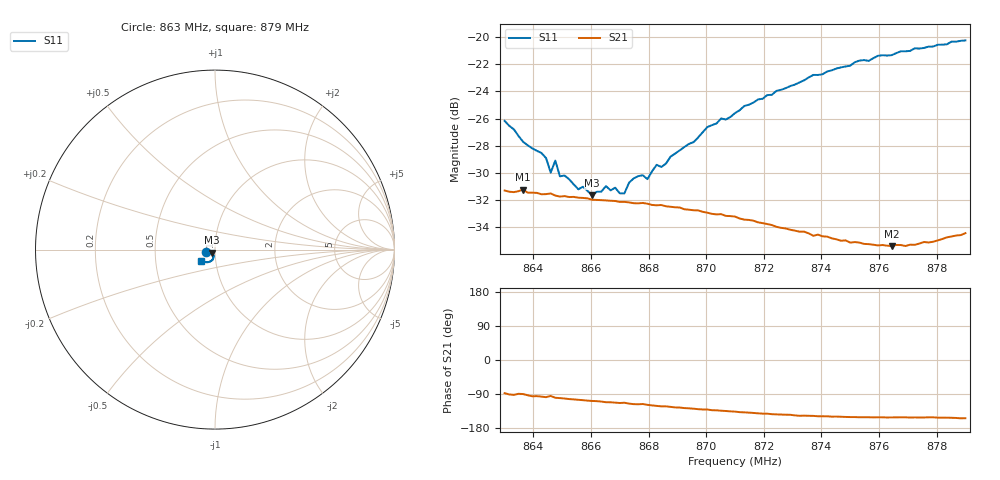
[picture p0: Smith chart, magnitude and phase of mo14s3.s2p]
# HZ S RI R 50
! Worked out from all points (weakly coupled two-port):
!   101 points, 863 MHz to 879 MHz, reference 50 ohm
!   highest |S21| = -31.22 dB at 863.64 MHz (marker M1); lowest = -35.4 dB at 876.44 MHz (marker M2)
!   lowest |S11| = -31.6 dB at 866.04 MHz (marker M3), VSWR 1.05, Z = 48.1 - j1.7 ohm
!   |S11| at or under -10 dB: start of sweep to end of sweep
!   S12 and S22 are empty: the file has one direction only
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8.63e8  -0.0475 -0.0129  0.00119 -0.0272  0 0  0 0
8.6364e8  -0.0393 -0.0125  9e-05 -0.0275  0 0  0 0
8.6444e8  -0.0336 -0.0127  -0.00372 -0.0262  0 0  0 0
8.646e8  -0.0289 -0.0131  -0.00225 -0.0265  0 0  0 0
8.6476e8  -0.0316 -0.0153  -0.00441 -0.0258  0 0  0 0
8.6492e8  -0.0279 -0.0129  -0.00474 -0.0255  0 0  0 0
8.6508e8  -0.0273 -0.0147  -0.00523 -0.0255  0 0  0 0
8.6556e8  -0.0231 -0.015  -0.00666 -0.0248  0 0  0 0
8.6572e8  -0.0226 -0.0168  -0.00707 -0.0246  0 0  0 0
8.6604e8  -0.0193 -0.0177  -0.00783 -0.024  0 0  0 0
8.6652e8  -0.0178 -0.022  -0.00918 -0.0233  0 0  0 0
8.6716e8  -0.0123 -0.0236  -0.00958 -0.0228  0 0  0 0
8.6748e8  -0.0134 -0.0271  -0.0109 -0.0219  0 0  0 0
8.678e8  -0.00995 -0.0294  -0.0108 -0.022  0 0  0 0
8.6796e8  -0.00914 -0.0286  -0.0116 -0.0215  0 0  0 0
8.6828e8  -0.0102 -0.0323  -0.0124 -0.0206  0 0  0 0
8.6844e8  -0.00935 -0.0319  -0.0129 -0.0204  0 0  0 0
8.7004e8  -0.00937 -0.0457  -0.0147 -0.0171  0 0  0 0
8.71e8  -0.0111 -0.0513  -0.0158 -0.0151  0 0  0 0
8.7372e8  -0.0264 -0.0676  -0.0157 -0.00999  0 0  0 0
8.7644e8  -0.0512 -0.0689  -0.015 -0.00812  0 0  0 0
8.79e8  -0.0754 -0.0613  -0.017 -0.00846  0 0  0 0
